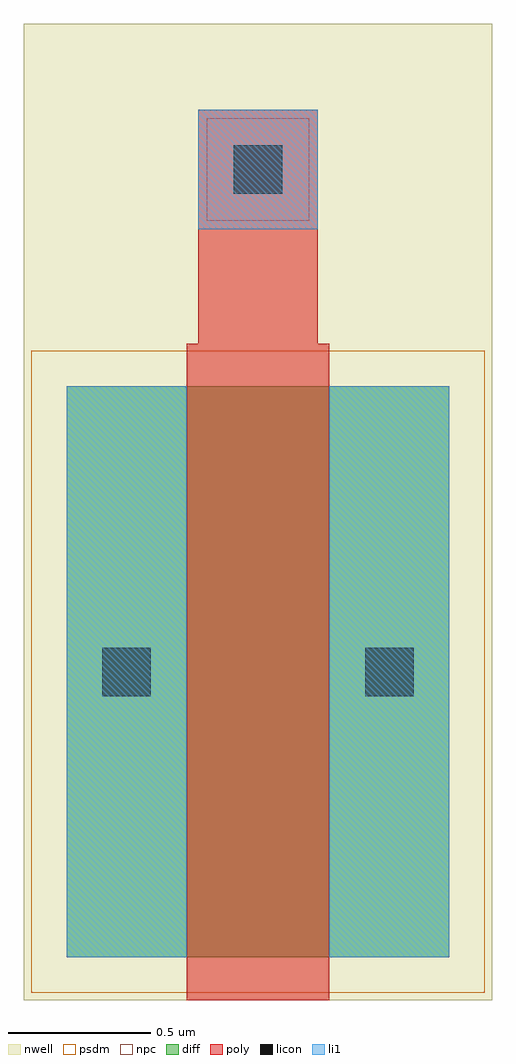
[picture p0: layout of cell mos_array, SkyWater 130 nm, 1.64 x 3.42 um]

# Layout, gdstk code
import gdstk
lib = gdstk.Library(unit=1e-6, precision=1e-09)
def R(c, l, rs):  # rectangles x0, y0, x1, y1
    for r in rs: c.add(gdstk.rectangle(r[:2], r[2:], *l))
nwell = (64, 20)
diff = (65, 20)
poly = (66, 20)
licon = (66, 44)
li1 = (67, 20)
psdm = (94, 20)
npc = (95, 20)

mos_array = lib.new_cell('mos_array')
R(mos_array, nwell, [(-0.15,-0.15,1.49,3.27)])
R(mos_array, diff, [(0,0,1.34,2)])
R(mos_array, poly, [(0.42,-0.15,0.92,2), (0.42,2,0.92,2.15), (0.42,2,0.92,2.15), (0.46,2.15,0.88,2.97)])
R(mos_array, licon, [(0.125,0.915,0.295,1.085), (1.045,0.915,1.215,1.085), (0.585,2.675,0.755,2.845)])
R(mos_array, li1, [(0,0,0.42,2), (0.92,0,1.34,2), (0.46,2.55,0.88,2.97)])
R(mos_array, psdm, [(-0.125,-0.125,1.465,2.125)])
R(mos_array, npc, [(0.49,2.58,0.85,2.94)])

lib.write_gds('mos_array.gds')
